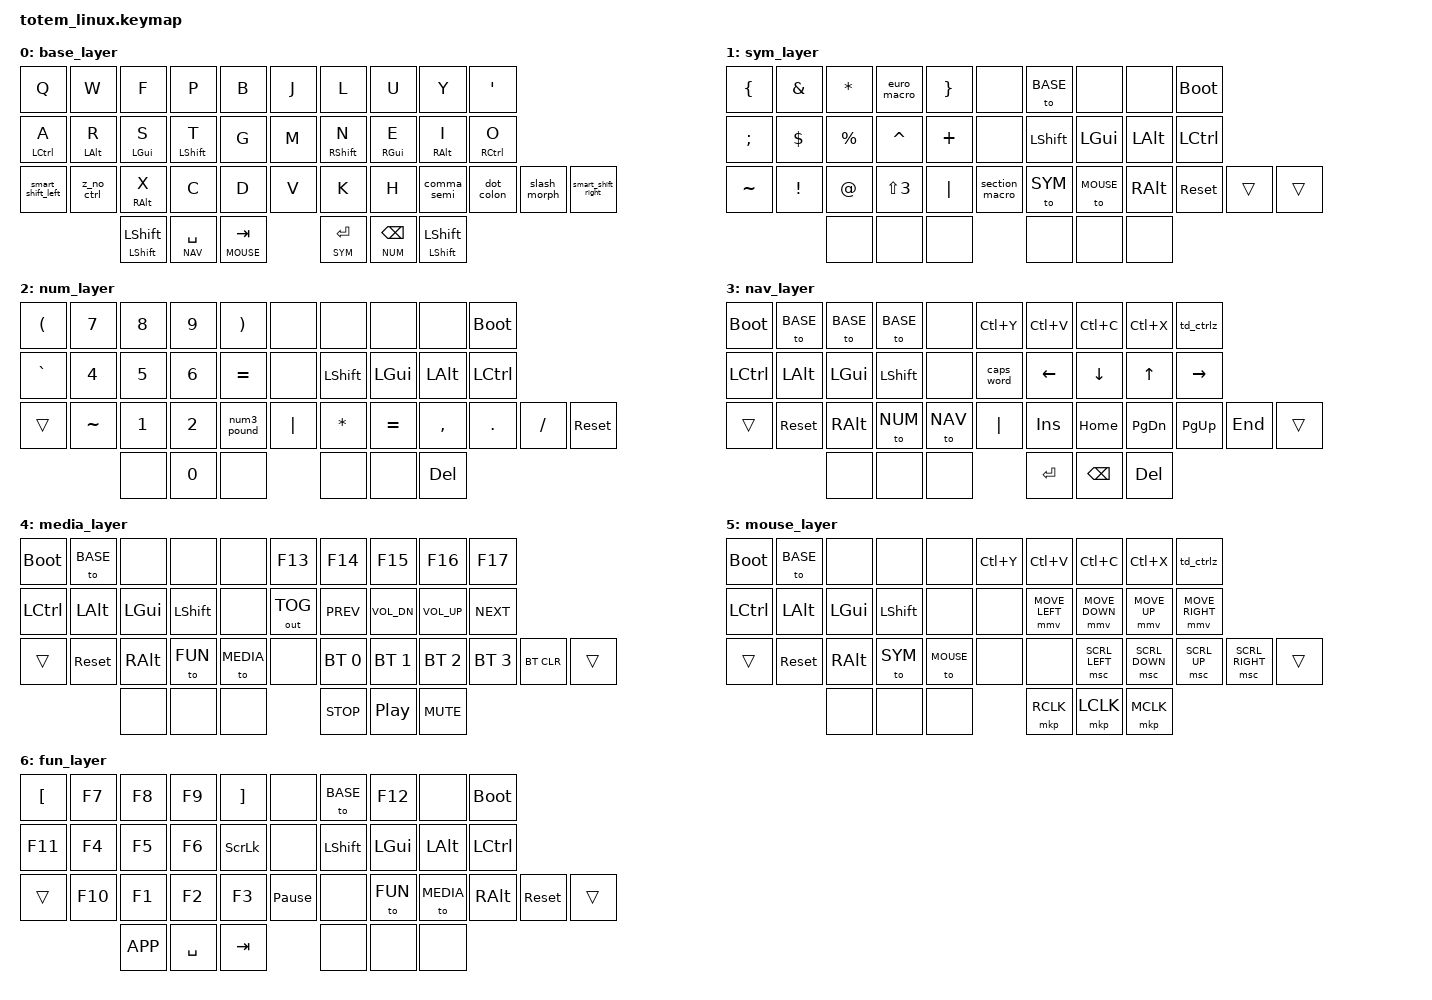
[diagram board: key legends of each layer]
/*
 * Copyright (c) 2025 Will Napier
 *
 * SPDX-License-Identifier: MIT
 *
 * LINUX-SPECIFIC TOTEM KEYMAP (Ctrl edit commands)
 * Ported from piantor_pro_bt.keymap (42-key) to Totem (38-key); the Linux twin of totem.keymap (macOS).
 * British Pound (£) on NUM+Shift+D ONLY (num3_pound morph — same chord as the
 *   macOS twin). Compose sequence (Menu, L, -) via ~/.XCompose. SYM+D is PIPE,
 *   matching the Mac.
 * Hash (#) on SYM+C (Shift+3 on the XKB "us" layout niri enforces)
 * Euro (€) on SYM+P — euro_macro compose sequence (Menu, c, =) via ~/.XCompose
 * Section sign (§) on SYM+V — section_macro compose sequence (Menu, s, o) via ~/.XCompose
 */

#include <behaviors.dtsi>
#include <dt-bindings/zmk/keys.h>
#include <dt-bindings/zmk/bt.h>
#include <dt-bindings/zmk/outputs.h>
#include <dt-bindings/zmk/pointing.h>

// Set maximum mouse velocity
#define ZMK_POINTING_DEFAULT_MOVE_VAL 1440

// Layer definitions
#define BASE 0
#define SYM 1
#define NUM 2
#define NAV 3
#define MEDIA 4
#define MOUSE 5
#define FUN 6

// Miryoku timeless HRM settings
#define QUICK_TAP_MS 175

&mt {
    flavor = "balanced";
    tapping-term-ms = <280>;
    quick-tap-ms = <QUICK_TAP_MS>;
    require-prior-idle-ms = <200>;
    hold-trigger-on-release;
};

/ {
    macros {
        // £ has exactly ONE route on Linux: NUM+Shift+D, via pound_shift_macro
        // below. The old shift-free pound_macro was deleted 2026-08-27 when SYM+D
        // reverted to PIPE — an unbound macro is what hid the original bug for
        // five weeks, so do not leave one lying around. See
        // ~/Assistants/shared/ZMK-SYMBOL-LAYER.md.

        // £ from under a HELD Shift — the NUM+Shift+D path (Mac muscle memory).
        // Explicitly releases both Shifts first rather than trusting the
        // mod-morph mask: the morph re-registers the masked mods on KEY RELEASE,
        // which on a quick tap lands mid-macro and would turn the trailing "-"
        // into "_". ~/.XCompose also accepts <underscore> as a belt-and-braces.
        // Side effect: a Shift physically held across this macro is released at
        // the HID level; it re-arms on the next physical press. Acceptable for a
        // tap-and-release chord.
        pound_shift_macro: pound_shift_macro {
            compatible = "zmk,behavior-macro";
            #binding-cells = <0>;
            wait-ms = <30>;
            tap-ms = <30>;
            bindings
                = <&macro_release &kp LSHFT>
                , <&macro_release &kp RSHFT>
                , <&macro_tap &kp K_APP>
                , <&macro_tap &kp L>
                , <&macro_tap &kp MINUS>
                ;
        };

        // Euro (€) via compose sequence (Menu, c, =) — in the default X Compose file
        // (/usr/share/X11/locale/en_US.UTF-8/Compose: <Multi_key> <c> <equal>).
        euro_macro: euro_macro {
            compatible = "zmk,behavior-macro";
            #binding-cells = <0>;
            wait-ms = <30>;
            tap-ms = <30>;
            bindings = <&kp K_APP>, <&kp C>, <&kp EQUAL>;
        };

        // Section sign (§) via compose sequence (Menu, s, o) — in the default X
        // Compose file (/usr/share/X11/locale/en_US.UTF-8/Compose: <Multi_key> <s> <o>).
        section_macro: section_macro {
            compatible = "zmk,behavior-macro";
            #binding-cells = <0>;
            wait-ms = <30>;
            tap-ms = <30>;
            bindings = <&kp K_APP>, <&kp S>, <&kp O>;
        };
    };
};

/ {
    behaviors {
        // Layer-tap + quick-tap: tap-then-hold the SAME key repeats the tap
        // (e.g. backspace autorepeat past the HRM), while hold-from-idle still
        // enters the layer. Matches ZMK's default &lt (tap-preferred, 200ms) and
        // only adds QUICK_TAP_MS quick-tap. Used on the &lt_repeat NUM BSPC thumb.
        lt_repeat: layer_tap_repeat {
            compatible = "zmk,behavior-hold-tap";
            #binding-cells = <2>;
            flavor = "tap-preferred";
            tapping-term-ms = <200>;
            quick-tap-ms = <QUICK_TAP_MS>;
            bindings = <&mo>, <&kp>;
        };

        // macOS-SPECIFIC: Cmd+Z for undo (instead of Ctrl+Z)
        td_ctrlz: tap_dance {
            compatible = "zmk,behavior-tap-dance";
            #binding-cells = <0>;
            tapping-term-ms = <200>;
            bindings = <&none>, <&kp LC(Z)>;  // LG = Left GUI (Cmd on macOS)
        };

        // Make Left-Ctrl+Z a hard no-op at the keyboard.
        // Z tapped on its own = "z"; Z pressed while Left-Ctrl is held = nothing.
        // This reads the LIVE modifier state, so it catches a deliberately-held A
        // (the LCTRL home-row mod) just as well as any other source of Left-Ctrl —
        // killing the terminal-suspend (SIGTSTP) that Ctrl+Z would otherwise send.
        // Cmd+Z (LGUI) is untouched: only Left-Ctrl is in the trigger mask, so undo
        // on the NAV layer (td_ctrlz / LC(Z)) still works.
        z_no_ctrl: z_no_ctrl_morph {
            compatible = "zmk,behavior-mod-morph";
            #binding-cells = <0>;
            bindings = <&kp Z>, <&none>;
            mods = <(MOD_LCTL)>;
        };

        // Outer pinkies: sticky Shift; already-shifted tap → parens (unchanged).
        smart_shift_left: smart_shift_left_morph {
            compatible = "zmk,behavior-mod-morph";
            #binding-cells = <0>;
            bindings = <&sk LSHFT>, <&kp LPAR>;  // Normal = sticky shift, Shift = (
            mods = <(MOD_LSFT|MOD_RSFT)>;
        };

        smart_shift_right: smart_shift_right_morph {
            compatible = "zmk,behavior-mod-morph";
            #binding-cells = <0>;
            bindings = <&sk LSHFT>, <&kp RPAR>;  // Normal = sticky shift, Shift = )
            mods = <(MOD_LSFT|MOD_RSFT)>;
        };

        // hold = LSHFT, tap = sticky LSHFT — use as &thumb_shift LSHFT LSHFT
        thumb_shift: thumb_dual_shift {
            compatible = "zmk,behavior-hold-tap";
            #binding-cells = <2>;
            flavor = "tap-preferred";
            tapping-term-ms = <200>;
            quick-tap-ms = <QUICK_TAP_MS>;
            bindings = <&kp>, <&sk>;
        };

        // Forward slash / backslash on same key
        slash_morph: slash_behavior {
            compatible = "zmk,behavior-mod-morph";
            #binding-cells = <0>;
            bindings = <&kp FSLH>, <&kp BSLH>;
            mods = <(MOD_LSFT|MOD_RSFT)>;
        };

        // Question mark / exclamation on same key
        question_combo: question_combo_morph {
            compatible = "zmk,behavior-mod-morph";
            #binding-cells = <0>;
            bindings = <&kp QUESTION>, <&kp EXCLAMATION>;   // Normal = ? vs Shift = !
            mods = <(MOD_LSFT|MOD_RSFT)>;
        };

        // Urob-style punctuation morphs (2026-07-18): colon/semicolon live on
        // Shift+, / Shift+. — not on letter combos (avoids ul/lu digraph traps).
        // sticky Shift (outer pinkies) or hold-T/N then , or .  →  ; or :
        // <> stay on vertical combos Q+A / '+O (Urob puts them on nested
        // Ctrl+Shift of these morphs; we keep the same-finger vertical path).
        comma_semi: comma_semi_morph {
            compatible = "zmk,behavior-mod-morph";
            #binding-cells = <0>;
            bindings = <&kp COMMA>, <&kp SEMI>;   // ,  /  Shift → ;
            mods = <(MOD_LSFT|MOD_RSFT)>;
        };

        // Period: plain . / Shift → :  (RAlt-hold removed 2026-07-19).
        // RAlt remains on hold-X and hold-I (and layers). Option/AltGr symbol
        // discovery is fine; regular maths/programming → a dedicated layer later.
        dot_colon: dot_colon_morph {
            compatible = "zmk,behavior-mod-morph";
            #binding-cells = <0>;
            bindings = <&kp DOT>, <&kp COLON>;    // .  /  Shift → :
            mods = <(MOD_LSFT|MOD_RSFT)>;
        };

        // Plus / equal on same key
        plus_equal: plus_equal_morph {
            compatible = "zmk,behavior-mod-morph";
            #binding-cells = <0>;
            bindings = <&kp PLUS>, <&kp EQUAL>;   // Normal = + vs Shift = =
            mods = <(MOD_LSFT|MOD_RSFT)>;
        };

        // NUM+D: 3 unshifted, £ shifted. Mirrors the macOS twin, where the same
        // chord is Shift+3 = £ on the British layout. On XKB "us" Shift+3 is #,
        // so Linux needs the compose macro to reach the same character.
        // # remains on SYM+C.
        num3_pound: num3_pound_morph {
            compatible = "zmk,behavior-mod-morph";
            #binding-cells = <0>;
            bindings = <&kp N3>, <&pound_shift_macro>;
            mods = <(MOD_LSFT|MOD_RSFT)>;
        };

        // Browser navigation behaviors
        browser_back: browser_back_morph {
            compatible = "zmk,behavior-mod-morph";
            #binding-cells = <0>;
            bindings = <&kp LA(LEFT)>, <&kp LC(PG_UP)>;   // Linux: Alt+Left = back ; Shift = Ctrl+PgUp = prev tab
            mods = <(MOD_LSFT|MOD_RSFT)>;
        };

        browser_forward: browser_forward_morph {
            compatible = "zmk,behavior-mod-morph";
            #binding-cells = <0>;
            bindings = <&kp LA(RIGHT)>, <&kp LC(PG_DN)>;   // Linux: Alt+Right = forward ; Shift = Ctrl+PgDn = next tab
            mods = <(MOD_LSFT|MOD_RSFT)>;
        };

        // Symbol combo behaviors with shift variants
        bracket_left: bracket_left_morph {
            compatible = "zmk,behavior-mod-morph";
            #binding-cells = <0>;
            bindings = <&kp LBKT>, <&kp LBRC>;   // [ normal, { shifted
            mods = <(MOD_LSFT|MOD_RSFT)>;
        };

        bracket_right: bracket_right_morph {
            compatible = "zmk,behavior-mod-morph";
            #binding-cells = <0>;
            bindings = <&kp RBKT>, <&kp RBRC>;   // ] normal, } shifted
            mods = <(MOD_LSFT|MOD_RSFT)>;
        };

        quote: quote_morph {
            compatible = "zmk,behavior-mod-morph";
            #binding-cells = <0>;
            bindings = <&kp SQT>, <&kp DQT>;   // ' normal, " shifted
            mods = <(MOD_LSFT|MOD_RSFT)>;
        };

        // Positional hold-tap for shift - only triggers on opposite hand
        // Uses tap-preferred to bias toward tap during fast rolls
        // Left shift: triggers only on right-hand keys (Totem positions 5 6 7 8 9, 15 16 17 18 19, 26 27 28 29 30 31, 35 36 37)
        hml_shift: home_row_left_shift {
            compatible = "zmk,behavior-hold-tap";
            #binding-cells = <2>;
            flavor = "tap-preferred";
            tapping-term-ms = <280>;
            quick-tap-ms = <QUICK_TAP_MS>;
            require-prior-idle-ms = <200>;
            bindings = <&kp>, <&kp>;
            hold-trigger-key-positions = <5 6 7 8 9 15 16 17 18 19 26 27 28 29 30 31 35 36 37>;
            hold-trigger-on-release;
        };

        // Positional hold-tap for the left-hand letter mods (Ctrl/Alt/GUI on A/R/S).
        // Same bilateral guard as hml_shift: the hold only triggers in combination with
        // a RIGHT-hand key, so same-hand rolls (e.g. a->z) can never produce Cmd/Ctrl+Z.
        // Deliberate undo stays on the NAV layer, unaffected.
        hml: home_row_left_mod {
            compatible = "zmk,behavior-hold-tap";
            #binding-cells = <2>;
            flavor = "tap-preferred";
            tapping-term-ms = <280>;
            quick-tap-ms = <QUICK_TAP_MS>;
            require-prior-idle-ms = <200>;
            bindings = <&kp>, <&kp>;
            hold-trigger-key-positions = <5 6 7 8 9 15 16 17 18 19 26 27 28 29 30 31 35 36 37>;
            hold-trigger-on-release;
        };

        // Right shift: triggers only on left-hand keys (Totem positions 0 1 2 3 4, 10 11 12 13 14, 20 21 22 23 24 25, 32 33 34)
        hmr_shift: home_row_right_shift {
            compatible = "zmk,behavior-hold-tap";
            #binding-cells = <2>;
            flavor = "tap-preferred";
            tapping-term-ms = <280>;
            quick-tap-ms = <QUICK_TAP_MS>;
            require-prior-idle-ms = <200>;
            bindings = <&kp>, <&kp>;
            hold-trigger-key-positions = <0 1 2 3 4 10 11 12 13 14 20 21 22 23 24 25 32 33 34>;
            hold-trigger-on-release;
        };

        // Right Cmd: tap-preferred with higher idle requirement to prevent accidental Cmd+Backspace
        // when typing words ending in E (like "the") followed by quick corrections
        hmr_cmd: home_row_right_cmd {
            compatible = "zmk,behavior-hold-tap";
            #binding-cells = <2>;
            flavor = "tap-preferred";
            tapping-term-ms = <280>;
            quick-tap-ms = <QUICK_TAP_MS>;
            require-prior-idle-ms = <200>;
            bindings = <&kp>, <&kp>;
            hold-trigger-on-release;
        };
    };


    combos {
        compatible = "zmk,combos";

        // Phase 1 (2026-07-31): colon/semi/minus/plus also active on NUM (BASE NUM)
// so symbols work while holding the num layer (no lift to type + - : ;).
        // Punct dual paths (2026-07-24 trial): keep verticals AND horizontals so both
        // can be compared in real typing. Shift+. / Shift+, morphs remain as backup.
        // Colon:  horizontal J+L  |  vertical I+.
        // Semi:   horizontal P+B  |  vertical E+,
        // Hyphen: vertical N+H    |  horizontal M+N  (mn digraph risk accepted for trial)
        combo_colon {
            timeout-ms = <40>;
            key-positions = <5 6>;  // J + L (horizontal)
            bindings = <&kp COLON>;
            layers = <BASE NUM>;
        };
        combo_colon_vert {
            timeout-ms = <40>;
            key-positions = <18 29>;  // I + . (vertical)
            bindings = <&kp COLON>;
            layers = <BASE NUM>;
        };
        combo_semicolon {
            timeout-ms = <40>;
            key-positions = <3 4>;  // P + B (horizontal)
            bindings = <&kp SEMI>;
            layers = <BASE NUM>;
        };
        combo_semicolon_vert {
            timeout-ms = <40>;
            key-positions = <17 28>;  // E + , (vertical)
            bindings = <&kp SEMI>;
            layers = <BASE NUM>;
        };

        // Hyphen dual path: N+H vertical (Urob-style) + M+N horizontal trial.
        // U+Y remains free on BASE (NAV still uses U+Y for browser-forward).
        combo_minus {
            timeout-ms = <40>;
            key-positions = <16 27>;  // N + H (vertical)
            bindings = <&kp MINUS>;
            layers = <BASE NUM>;
        };
        combo_minus_horiz {
            timeout-ms = <40>;
            key-positions = <15 16>;  // M + N (horizontal)
            bindings = <&kp MINUS>;
            layers = <BASE NUM>;
        };

        // , + . = ? (question mark) / ! (exclamation when shifted)
        combo_question {
            timeout-ms = <50>;
            key-positions = <28 29>;
            bindings = <&question_combo>;
            layers = <BASE>;
        };

        // Safety combo: prevent accidental Cmd+Z when brushing A while pressing Z
        combo_az_null {
            timeout-ms = <50>;
            require-prior-idle-ms = <50>;
            key-positions = <10 21>;  // A + Z
            bindings = <&none>;
            layers = <BASE>;
        };

        // --- Bracket combos: vertical, same-finger, mirrored (L=open / R=close).
        //     Strongest finger = most common bracket: index=(), middle=[], ring={},
        //     pinky=<> (weaker; Totem splay + small wrist/ring assist is fine).
        //     No require-prior-idle: a same-finger flatten can't occur within the
        //     40ms window during normal sequential typing, and an idle guard would
        //     block brackets typed right after a letter (foo(, [text](url)).
        //     Overlaps shift keys S/T/N/E by design — the tight window keeps the
        //     deliberate flatten distinct from a two-finger shift press.
        //     Pinky pairs overlap HRM Ctrl on A/O: hold-mod then letter is fine;
        //     simultaneous mash within 40ms can emit <> instead of Ctrl+letter.
        combo_lparen {   // ( = P + T  (left index)
            timeout-ms = <40>;
            key-positions = <3 13>;
            bindings = <&kp LPAR>;
            layers = <BASE>;
        };
        combo_rparen {   // ) = L + N  (right index)
            timeout-ms = <40>;
            key-positions = <6 16>;
            bindings = <&kp RPAR>;
            layers = <BASE>;
        };
        combo_lbracket {   // [ = F + S  (left middle)
            timeout-ms = <40>;
            key-positions = <2 12>;
            bindings = <&kp LBKT>;
            layers = <BASE>;
        };
        combo_rbracket {   // ] = U + E  (right middle)
            timeout-ms = <40>;
            key-positions = <7 17>;
            bindings = <&kp RBKT>;
            layers = <BASE>;
        };
        combo_lbrace {   // { = W + R  (left ring)
            timeout-ms = <40>;
            key-positions = <1 11>;
            bindings = <&kp LBRC>;
            layers = <BASE>;
        };
        combo_rbrace {   // } = Y + I  (right ring)
            timeout-ms = <40>;
            key-positions = <8 18>;
            bindings = <&kp RBRC>;
            layers = <BASE>;
        };
        combo_langle {   // < = Q + A  (left pinky column)
            timeout-ms = <40>;
            key-positions = <0 10>;
            bindings = <&kp LESS_THAN>;
            layers = <BASE>;
        };
        combo_rangle {   // > = ' + O  (right pinky column)
            timeout-ms = <40>;
            key-positions = <9 19>;
            bindings = <&kp GREATER_THAN>;
            layers = <BASE>;
        };

        // --- Browser-nav combos on the NAV layer (base freed; hyphen reclaims U+Y).
        //     Both on the RIGHT hand around the U pivot so reversing tab direction is a
        //     finger-shift, not a hand-swap: L+U = back/left, U+Y = forward/right.
        //     tap = history, shift = tab (NAV-layer T is LSHFT — hold it for tabs).
        //     Via browser_back/forward morphs: Mac Cmd+[/]·Cmd+{/} ; Linux Alt+←/→·Ctrl+PgUp/Dn.
        //     NB overlaps the NAV clipboard singles (L=paste, U=copy, Y=cut) — watch a
        //     fast copy→paste roll; the tight timeout guards it.
        combo_browser_back {   // NAV: L + U = back / shift = previous tab
            timeout-ms = <45>;
            key-positions = <6 7>;
            bindings = <&browser_back>;
            layers = <NAV>;
        };
        combo_browser_fwd {   // NAV: U + Y = forward / shift = next tab
            timeout-ms = <45>;
            key-positions = <7 8>;
            bindings = <&browser_forward>;
            layers = <NAV>;
        };

        // Esc bilateral (rare bigrams); frees outer thumbs for dual Shift.
        // £ dropped from Y+' — Linux £ is NUM+Shift+D (num3_pound morph),
        // the same chord as the macOS twin. Plain NUM+D is still 3.
        combo_esc {
            timeout-ms = <50>;
            key-positions = <0 1>;  // Q + W (left)
            bindings = <&kp ESC>;
            layers = <BASE>;
        };
        combo_esc_right {
            timeout-ms = <50>;
            key-positions = <8 9>;  // Y + ' (right)
            bindings = <&kp ESC>;
            layers = <BASE>;
        };

        // --- Layer bars (2026-07-19): 3-key bottom chords; thumbs = dual Shift.
        // xcd = momentary MEDIA (hold bar → other hand uses layer).
        // h,. = sticky FUN (arm once → one F-key/sys tap → layer drops).
        // Subset 2-key combos (@ | + ?) still exist; prefer full-bar flatten for layers.
        combo_media_bar {
            timeout-ms = <55>;
            key-positions = <22 23 24>;  // X + C + D
            bindings = <&mo MEDIA>;
            layers = <BASE>;
        };
        combo_fun_bar {
            timeout-ms = <55>;
            key-positions = <27 28 29>;  // H + , + .
            bindings = <&sl FUN>;
            layers = <BASE>;
        };

        combo_at {
            timeout-ms = <50>;
            require-prior-idle-ms = <150>;
            key-positions = <22 23>;  // X + C
            bindings = <&kp AT>;
            layers = <BASE>;
        };

        combo_pipe {
            timeout-ms = <50>;
            require-prior-idle-ms = <150>;
            key-positions = <23 24>;  // C + D
            bindings = <&kp PIPE>;
            layers = <BASE>;
        };

        combo_plus {
            timeout-ms = <50>;
            require-prior-idle-ms = <150>;
            key-positions = <27 28>;  // H + ,
            bindings = <&plus_equal>;
            layers = <BASE NUM>;
        };

        // . + / = ! (exclamation). Y+' is now Esc (was £); £ is NUM+Shift+D.
        // 50/150: sequential ./ paths type normally; deliberate mash after pause = !.
        combo_exclaim {
            timeout-ms = <50>;
            require-prior-idle-ms = <150>;
            key-positions = <29 30>;  // . + /
            bindings = <&kp EXCL>;
            layers = <BASE>;
        };

        // S+T / N+E one-shot sticky Shift removed 2026-07-18.
        // Digraphs st/ne after pauses (new, next, start…) satisfied prior-idle
        // and fired the combo (e.g. "new" → "W"). Capitals: hold-T/N HRM,
        // outer smart sticky Shift, or NAV caps_word.

    };
};

// Configure mouse movement acceleration (Urob-style)
&mmv {
    acceleration-exponent = <1>;
    time-to-max-speed-ms = <60>;
    delay-ms = <0>;
};

// Configure mouse scroll - remove rate limiting for responsive repeated scrolls
&msc {
    acceleration-exponent = <0>;  // Linear, no acceleration
    time-to-max-speed-ms = <0>;   // Immediate max speed
    delay-ms = <0>;               // No delay between scrolls
};

/ {
    keymap {
        compatible = "zmk,keymap";

        base_layer {
            bindings = <
                &kp Q           &kp W           &kp F           &kp P           &kp B           &kp J           &kp L           &kp U           &kp Y           &kp SQT
                &hml LCTRL A    &hml LALT R     &hml LGUI S     &hml_shift LSHFT T     &kp G    &kp M           &hmr_shift RSHFT N     &hmr_cmd RGUI E  &mt RALT I      &mt RCTRL O
                &smart_shift_left &z_no_ctrl    &mt RALT X      &kp C           &kp D           &kp V           &kp K           &kp H           &comma_semi     &dot_colon      &slash_morph    &smart_shift_right
                                                &thumb_shift LSHFT LSHFT    &lt NAV SPACE   &lt MOUSE TAB   &lt SYM RET     &lt_repeat NUM BSPC    &thumb_shift LSHFT LSHFT
            >;
        };

        sym_layer {
            bindings = <
                &kp LBRC        &kp AMPS        &kp ASTRK       &euro_macro     &kp RBRC        &none           &to BASE        &none           &none           &bootloader
                &kp SEMI        &kp DLLR        &kp PRCNT       &kp CARET       &kp PLUS        &none           &kp LSHFT       &kp LGUI        &kp LALT        &kp LCTRL
                &kp TILDE       &kp EXCL        &kp AT          &kp LS(N3)      &kp PIPE        &section_macro  &to SYM         &to MOUSE       &kp RALT        &sys_reset      &trans          &trans
                                                &none           &none           &none           &none           &none           &none
            >;
        };

        num_layer {
            bindings = <
                &kp LPAR        &kp N7          &kp N8          &kp N9          &kp RPAR        &none           &none           &none            &none          &bootloader
                &kp GRAVE       &kp N4          &kp N5          &kp N6          &kp EQUAL       &none           &kp LSHFT       &kp LGUI        &kp LALT        &kp LCTRL
                &trans          &kp TILDE       &kp N1          &kp N2          &num3_pound     &kp PIPE        &kp STAR        &kp EQUAL        &kp COMMA       &kp DOT         &kp FSLH        &sys_reset
                                                &none           &kp N0          &none           &none           &none           &kp DEL
            >;
        };

        nav_layer {
            bindings = <
                // macOS-SPECIFIC: Using LG (Cmd) instead of LC (Ctrl)
                &bootloader     &to BASE        &to BASE        &to BASE        &none           &kp LC(Y)       &kp LC(V)       &kp LC(C)       &kp LC(X)       &td_ctrlz
                &kp LCTRL       &kp LALT        &kp LGUI        &kp LSHFT       &none           &caps_word      &kp LEFT        &kp DOWN        &kp UP          &kp RIGHT
                &trans          &sys_reset      &kp RALT        &to NUM         &to NAV         &kp PIPE        &kp INS         &kp HOME        &kp PG_DN       &kp PG_UP       &kp END         &trans
                                                &none           &none           &none           &kp RET         &kp BSPC        &kp DEL
             >;
        };

        media_layer {
            // Screenshot keys on top row right (hold MEDIA left thumb + key):
            // J=F13 region→file, L=F14 full→file, U=F15 window→file, Y=F16 region→clip, '=F17 full→clip
            bindings = <
                &bootloader     &to BASE        &none           &none           &none           &kp F13         &kp F14         &kp F15         &kp F16         &kp F17
                &kp LCTRL       &kp LALT        &kp LGUI        &kp LSHFT       &none           &out OUT_TOG    &kp C_PREV      &kp C_VOL_DN    &kp C_VOL_UP    &kp C_NEXT
                &trans          &sys_reset      &kp RALT        &to FUN         &to MEDIA       &none           &bt BT_SEL 0    &bt BT_SEL 1    &bt BT_SEL 2    &bt BT_SEL 3    &bt BT_CLR      &trans
                                                &none           &none           &none           &kp C_STOP      &kp C_PP        &kp C_MUTE
            >;
        };

        mouse_layer {
            bindings = <
                // macOS-SPECIFIC: Using LG (Cmd) instead of LC (Ctrl)
                &bootloader     &to BASE        &none           &none           &none           &kp LC(Y)       &kp LC(V)       &kp LC(C)       &kp LC(X)       &td_ctrlz
                &kp LCTRL       &kp LALT        &kp LGUI        &kp LSHFT       &none           &none           &mmv MOVE_LEFT  &mmv MOVE_DOWN  &mmv MOVE_UP    &mmv MOVE_RIGHT
                &trans          &sys_reset      &kp RALT        &to SYM         &to MOUSE       &none           &none           &msc SCRL_LEFT  &msc SCRL_DOWN  &msc SCRL_UP    &msc SCRL_RIGHT &trans
                                                &none           &none           &none           &mkp RCLK       &mkp LCLK       &mkp MCLK
            >;
        };

        fun_layer {
            bindings = <
                &kp LBKT        &kp F7          &kp F8          &kp F9          &kp RBKT        &none           &to BASE        &kp F12         &none           &bootloader
                &kp F11         &kp F4          &kp F5          &kp F6          &kp SLCK        &none           &kp LSHFT       &kp LGUI        &kp LALT        &kp LCTRL
                &trans          &kp F10         &kp F1          &kp F2          &kp F3          &kp PAUSE_BREAK &none           &to FUN         &to MEDIA       &kp RALT        &sys_reset      &trans
                                                &kp K_APP       &kp SPACE       &kp TAB         &none           &none           &none
            >;
        };

    };
};
